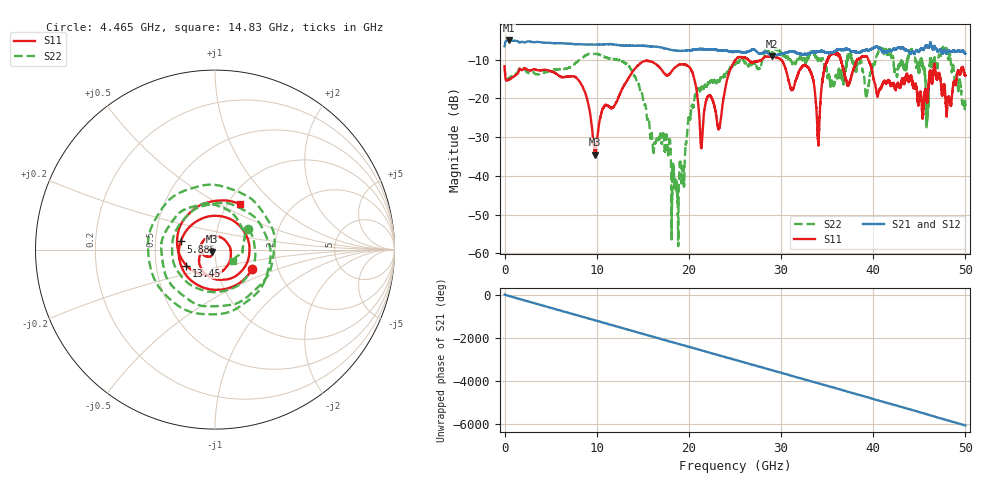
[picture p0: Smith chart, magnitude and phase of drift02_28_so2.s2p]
!Created with skrf (http://scikit-rf.org).
# Hz S RI R 50.0
!freq ReS11 ImS11 ReS21 ImS21 ReS12 ImS12 ReS22 ImS22
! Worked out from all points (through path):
!   10001 points, 300 kHz to 50 GHz, reference 50 ohm
!   highest |S21| = -5.04 dB at 430.3 MHz (marker M1); lowest = -9.0 dB at 29.05 GHz (marker M2)
!   group delay of S21, straight-line fit = 336 ps
!   lowest |S11| = -34.5 dB at 9.84 GHz (marker M3), VSWR 1.04, Z = 48.5 - j1.04 ohm
!   |S11| at or under -10 dB: start of sweep to 25.06 GHz; 29.98 GHz to 35.05 GHz (5.072 GHz wide, 15.6 % of centre); 39.47 GHz to end of sweep (the widest 3 of 7)
!   |S22| runs from -58.2 to -6.7 dB; largest |S21 - S12| = 0.021
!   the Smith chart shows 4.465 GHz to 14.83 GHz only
!   S11 on the Smith chart (normalised r, x): 4.465 GHz: 1.47, -0.34; 5.885 GHz: 0.68, +0.06; 13.45 GHz: 0.71, -0.13; 14.83 GHz: 1.14, +0.63
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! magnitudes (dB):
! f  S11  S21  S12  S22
! 300 kHz  -11.7  -6.5  -6.4  -11.6
! 430.3 MHz  -15.2  -5.0  -5.0  -14.8
! 4.465 GHz  -12.6  -5.6  -5.6  -13.3
! 5.885 GHz  -14.2  -5.7  -5.7  -12.5
! 8.335 GHz  -16.4  -6.0  -6.0  -9.6
! 9.84 GHz  -34.5  -6.1  -6.1  -8.6
! 13.45 GHz  -14.8  -6.4  -6.4  -11.6
! 14.83 GHz  -10.8  -6.4  -6.4  -18.6
! 16.67 GHz  -11.6  -6.7  -6.7  -30.5
! 18.68 GHz  -11.7  -7.7  -7.7  -43.4
! 20.37 GHz  -13.3  -7.5  -7.5  -22.0
! 21.37 GHz  -32.4  -7.2  -7.2  -17.0
! 23.31 GHz  -27.5  -7.6  -7.6  -15.6
! 25 GHz  -10.3  -8.0  -8.0  -11.1
! 29.05 GHz  -9.1  -9.0  -9.0  -8.2
! 33.34 GHz  -13.9  -8.1  -8.2  -8.1
! 34.02 GHz  -31.0  -7.9  -7.9  -10.3
! 35.51 GHz  -8.4  -8.2  -8.2  -15.4
! 41.67 GHz  -15.4  -7.7  -7.8  -7.7
! 45.86 GHz  -21.2  -6.7  -6.7  -20.8
! 47.77 GHz  -17.5  -7.6  -7.6  -7.4
! 50 GHz  -14.1  -8.4  -8.4  -20.6
